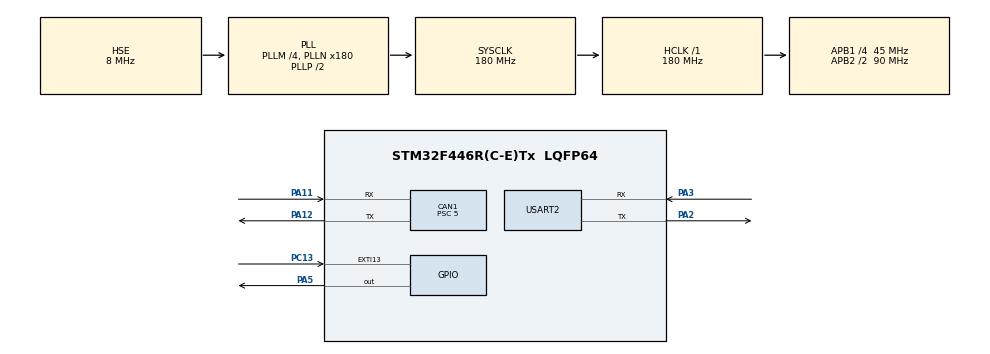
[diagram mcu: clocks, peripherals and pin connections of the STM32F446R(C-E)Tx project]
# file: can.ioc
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CAN1.BS1=CAN_BS1_13TQ
CAN1.BS2=CAN_BS2_4TQ
CAN1.CalculateBaudRate=500000
CAN1.CalculateTimeBit=2000
CAN1.CalculateTimeQuantum=111.11111111111111
CAN1.Prescaler=5
Mcu.Family=STM32F4
Mcu.Name=STM32F446R(C-E)Tx
Mcu.Package=LQFP64
NVIC.CAN1_RX0_IRQn=true\:0\:0\:false\:false\:true\:true\:true\:true
NVIC.PriorityGroup=NVIC_PRIORITYGROUP_4
PA11.Mode=CAN_Activate
PA11.Signal=CAN1_RX
PA12.Mode=CAN_Activate
PA12.Signal=CAN1_TX
PA2.Mode=Asynchronous
PA2.Signal=USART2_TX
PA3.Mode=Asynchronous
PA3.Signal=USART2_RX
PA5.Signal=GPIO_Output
PC13.Signal=GPXTI13
PC14-OSC32_IN.Mode=LSE-External-Oscillator
PC14-OSC32_IN.Signal=RCC_OSC32_IN
PC15-OSC32_OUT.Mode=LSE-External-Oscillator
PC15-OSC32_OUT.Signal=RCC_OSC32_OUT
PH0-OSC_IN.Mode=HSE-External-Oscillator
PH0-OSC_IN.Signal=RCC_OSC_IN
PH1-OSC_OUT.Mode=HSE-External-Oscillator
PH1-OSC_OUT.Signal=RCC_OSC_OUT
ProjectManager.HeapSize=0x200
ProjectManager.StackSize=0x400
ProjectManager.TargetToolchain=STM32CubeIDE
RCC.AHBFreq_Value=180000000
RCC.APB1CLKDivider=RCC_HCLK_DIV4
RCC.APB1Freq_Value=45000000
RCC.APB1TimFreq_Value=90000000
RCC.APB2CLKDivider=RCC_HCLK_DIV2
RCC.APB2Freq_Value=90000000
RCC.APB2TimFreq_Value=180000000
RCC.CortexFreq_Value=180000000
RCC.HCLKFreq_Value=180000000
RCC.HSE_VALUE=8000000
RCC.PLLM=4
RCC.PLLN=180
RCC.PLLSourceVirtual=RCC_PLLSOURCE_HSE
RCC.PWREXT_OverDrive=PWREXT_OverDrive_ACTIVATED
RCC.SYSCLKFreq_VALUE=180000000
RCC.SYSCLKSource=RCC_SYSCLKSOURCE_PLLCLK
RCC.USBFreq_Value=180000000
RCC.VCOOutputFreq_Value=360000000
USART2.VirtualMode=VM_ASYNC
board=custom

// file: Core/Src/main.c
/* USER CODE BEGIN Header */
/**
  ******************************************************************************
  * @file           : main.c
  * @brief          : Main program body
  ******************************************************************************
  * @attention
  *
  * Copyright (c) 2025 STMicroelectronics.
  * All rights reserved.
  *
  * This software is licensed under terms that can be found in the LICENSE file
  * in the root directory of this software component.
  * If no LICENSE file comes with this software, it is provided AS-IS.
  *
  ******************************************************************************
  */
/* USER CODE END Header */
#include "main.h"
#include "can.h"
#include "usart.h"
#include "gpio.h"
#include <stdio.h>
#include <string.h>
#include <math.h>

#include "vehiclefulectri.h"

/* USER CODE BEGIN PM */
extern MotionRaw_T MotionRaw;
/* USER CODE END PM */

/* USER CODE BEGIN PV */
CAN_TxHeaderTypeDef TxHeader;
CAN_RxHeaderTypeDef RxHeader;
uint8_t TxData[8];
uint8_t RxData[8];
uint32_t TxMailbox;

/********************/
#define MAX_LOG 10
float tempLog[MAX_LOG];
float humidityLog[MAX_LOG];
uint8_t logIndex = 0;
/********************/
//SubsystemMode_T activeSubsystem = SUBSYSTEM_ENGINE;

/* USER CODE END PV */

void SystemClock_Config(void);

/* USER CODE BEGIN 0 */
void uart_send_char(char c) {
    while (!(USART2->SR & USART_SR_TXE)); // Wait until TX buffer is empty
    USART2->DR = c;
}
void uart_send_string(const char *str) {
    HAL_UART_Transmit(&huart2, (uint8_t *)str, strlen(str), HAL_MAX_DELAY);
}
char uart_receive_char(void) {
    while (!(USART2->SR & USART_SR_RXNE)); // Wait until data is received
    return USART2->DR;
}
//
void handleDHT11Frame(uint8_t* data)
{
    float temp = data[0] / 10.0f;
    float humidity = data[1] / 10.0f;

    // Log or act on the values
    printf("Received Temp: %.1f°C, Humidity: %.1f%%\r\n", temp, humidity);
    // Optional: log or act on values
	char msg[64];
	snprintf(msg, sizeof(msg), "DHT11 → Temp: %.1f°C, RH: %.1f%%\r\n", temp, humidity);
	uart_send_string(msg);
    // Optional: trigger cooling, alerts, or store in buffer
    if (temp > 30.0f || humidity >80.0f)
    {
        HAL_GPIO_WritePin(GPIOC, GPIO_PIN_13, GPIO_PIN_SET); // Turn on warning LED
    }
    else
    {
        HAL_GPIO_WritePin(GPIOC, GPIO_PIN_13, GPIO_PIN_RESET);
    }

}

void logDHT11(float temp, float humidity)
{
    tempLog[logIndex] = temp;
    humidityLog[logIndex] = humidity;
    logIndex = (logIndex + 1) % MAX_LOG;
}
/* USER CODE END 0 */

int main(void)
{

  /* MCU Configuration--------------------------------------------------------*/

  /* Reset of all peripherals, Initializes the Flash interface and the Systick. */
  HAL_Init();

  /* Configure the system clock */
  SystemClock_Config();

  /* Initialize all configured peripherals */
  MX_GPIO_Init();
  MX_CAN1_Init();
  MX_USART2_UART_Init();
  printf("USART is working!\r\n");
  printf("USART test: value = %.2f\n", 123.45);

  /* USER CODE BEGIN 2 */
  // Start CAN peripheral
  if (HAL_CAN_Start(&hcan1) != HAL_OK)
  {
    Error_Handler();
  }
  // Start UART peripheral

  if ( HAL_UART_Init(&huart2) != HAL_OK)
  {
    Error_Handler();
  }

  // Enable CAN RX interrupt
  if (HAL_CAN_ActivateNotification(&hcan1, CAN_IT_RX_FIFO0_MSG_PENDING) != HAL_OK)
  {
    Error_Handler();
  }
  printf("Node B ready\r\n");

  /* USER CODE END 2 */

  /* Infinite loop */
  /* USER CODE BEGIN WHILE */
  while (1)
      {
	    printf("ax=%d gx=%d → status=%d\r\n", MotionRaw.ax, MotionRaw.gx, MotionRaw.status);

	    HAL_Delay(100); // just idle loop
	  }
  /* USER CODE END 3 */
}
void HAL_CAN_RxFifo0MsgPendingCallback(CAN_HandleTypeDef *hcan)
{
    CAN_RxHeaderTypeDef RxHeader;
    uint8_t RxData[8];
    HAL_CAN_GetRxMessage(hcan, CAN_RX_FIFO0, &RxHeader, RxData);
	handleCANRxMessage(RxHeader.StdId, RxData, RxHeader.DLC);
	HAL_GPIO_TogglePin(GPIOA, GPIO_PIN_5);  // Blink LED when message received
}
void SystemClock_Config(void)
{
  RCC_OscInitTypeDef RCC_OscInitStruct = {0};
  RCC_ClkInitTypeDef RCC_ClkInitStruct = {0};

  /** Configure the main internal regulator output voltage
  */
  __HAL_RCC_PWR_CLK_ENABLE();
  __HAL_PWR_VOLTAGESCALING_CONFIG(PWR_REGULATOR_VOLTAGE_SCALE1);

  /** Initializes the RCC Oscillators according to the specified parameters
  * in the RCC_OscInitTypeDef structure.
  */
  RCC_OscInitStruct.OscillatorType = RCC_OSCILLATORTYPE_HSE;
  RCC_OscInitStruct.HSEState = RCC_HSE_ON;
  RCC_OscInitStruct.PLL.PLLState = RCC_PLL_ON;
  RCC_OscInitStruct.PLL.PLLSource = RCC_PLLSOURCE_HSE;
  RCC_OscInitStruct.PLL.PLLM = 4;
  RCC_OscInitStruct.PLL.PLLN = 180;
  RCC_OscInitStruct.PLL.PLLP = RCC_PLLP_DIV2;
  RCC_OscInitStruct.PLL.PLLQ = 2;
  RCC_OscInitStruct.PLL.PLLR = 2;
  if (HAL_RCC_OscConfig(&RCC_OscInitStruct) != HAL_OK)
  {
    Error_Handler();
  }

  /** Activate the Over-Drive mode
  */
  if (HAL_PWREx_EnableOverDrive() != HAL_OK)
  {
    Error_Handler();
  }

  /** Initializes the CPU, AHB and APB buses clocks
  */
  RCC_ClkInitStruct.ClockType = RCC_CLOCKTYPE_HCLK|RCC_CLOCKTYPE_SYSCLK
                              |RCC_CLOCKTYPE_PCLK1|RCC_CLOCKTYPE_PCLK2;
  RCC_ClkInitStruct.SYSCLKSource = RCC_SYSCLKSOURCE_PLLCLK;
  RCC_ClkInitStruct.AHBCLKDivider = RCC_SYSCLK_DIV1;
  RCC_ClkInitStruct.APB1CLKDivider = RCC_HCLK_DIV4;
  RCC_ClkInitStruct.APB2CLKDivider = RCC_HCLK_DIV2;

  if (HAL_RCC_ClockConfig(&RCC_ClkInitStruct, FLASH_LATENCY_5) != HAL_OK)
  {
    Error_Handler();
  }
}

void Error_Handler(void)
{
  __disable_irq();
  while (1); // stay here on error
}
